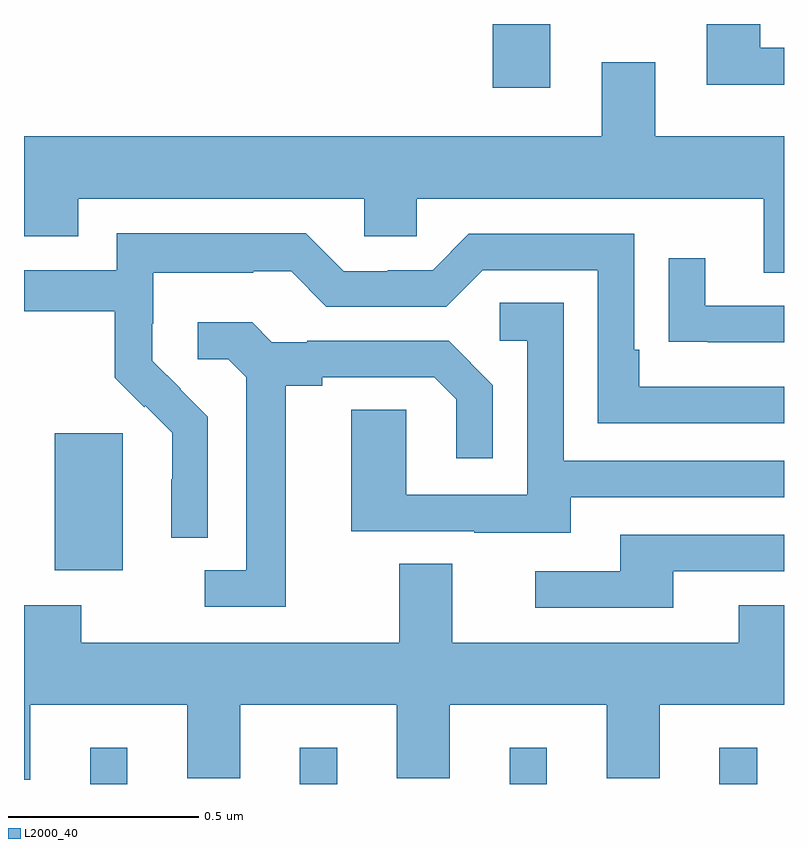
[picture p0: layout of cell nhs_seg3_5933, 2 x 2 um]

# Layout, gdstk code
import gdstk
lib = gdstk.Library(unit=1e-6, precision=1e-09)
def R(c, l, rs):  # rectangles x0, y0, x1, y1
    for r in rs: c.add(gdstk.rectangle(r[:2], r[2:], *l))
def A(c, l, x, y, w, h, nx, ny, dx, dy):  # array of equal rectangles
    R(c, l, [(x+i*dx, y+j*dy, x+i*dx+w, y+j*dy+h) for i in range(nx) for j in range(ny)])
def P(c, l, *ps):  # polygons
    for p in ps: c.add(gdstk.Polygon(p, *l))
L2000_40 = (2000, 40)

nhs_seg3_5933 = lib.new_cell('nhs_seg3_5933')
A(nhs_seg3_5933, L2000_40, 185.174, 675.4, 0.098, 0.096, 3, 1, 0.552, 0)
R(nhs_seg3_5933, L2000_40, [(186.83,675.4,186.929,675.496), (185.081,675.962,185.26,676.323), (186.233,677.232,186.385,677.4)])
P(nhs_seg3_5933, L2000_40, [(187,677.337),(186.937,677.337),(186.937,677.4),(186.797,677.4),(186.797,677.24),(187,677.24)],
  [(186.661,677.299),(186.521,677.299),(186.521,677.104),(185,677.104),(185,676.841),(185.143,676.841),(185.143,676.94),(185.895,676.94),(185.895,676.842),(186.033,676.842),(186.033,676.94),(186.947,676.94),(186.947,676.746),(187,676.746),(187,677.104),(186.661,677.104)],
  [(185.484,676.366),(185.411,676.439),(185.412,676.44),(185.338,676.514),(185.338,676.611),(185.34,676.611),(185.34,676.745),(185.603,676.745),(185.603,676.749),(185.703,676.749),(185.796,676.656),(186.111,676.656),(186.207,676.752),(186.51,676.752),(186.51,676.35),(187,676.35),(187,676.446),(186.619,676.446),(186.619,676.543),(186.606,676.543),(186.606,676.848),(186.171,676.848),(186.075,676.752),(185.957,676.752),(185.957,676.749),(185.841,676.749),(185.741,676.849),(185.244,676.849),(185.244,676.752),(185,676.752),(185,676.644),(185.239,676.644),(185.239,676.469),(185.316,676.392),(185.319,676.395),(185.39,676.325),(185.39,676.202),(185.388,676.202),(185.388,676.048),(185.484,676.048)],
  [(187,676.659),(186.793,676.659),(186.793,676.783),(186.697,676.783),(186.697,676.564),(186.799,676.564),(186.799,676.563),(187,676.563)],
  [(186.439,676.155),(187,676.155),(187,676.251),(186.42,676.251),(186.42,676.667),(186.252,676.667),(186.252,676.566),(186.324,676.566),(186.324,676.161),(186.006,676.161),(186.006,676.385),(185.861,676.385),(185.861,676.065),(186.185,676.065),(186.185,676.061),(186.439,676.061)],
  [(185.689,676.448),(185.785,676.448),(185.785,676.47),(186.08,676.47),(186.137,676.413),(186.137,676.257),(186.234,676.257),(186.234,676.45),(186.118,676.566),(185.746,676.566),(185.746,676.563),(185.652,676.563),(185.6,676.615),(185.457,676.615),(185.457,676.518),(185.538,676.518),(185.585,676.471),(185.585,675.963),(185.475,675.963),(185.475,675.867),(185.689,675.867)],
  [(186.709,675.96),(187,675.96),(187,676.056),(186.569,676.056),(186.569,675.96),(186.345,675.96),(186.345,675.864),(186.709,675.864)],
  [(185.017,675.608),(185.429,675.608),(185.429,675.415),(185.569,675.415),(185.569,675.608),(185.981,675.608),(185.981,675.415),(186.121,675.415),(186.121,675.608),(186.533,675.608),(186.533,675.415),(186.673,675.415),(186.673,675.608),(187,675.608),(187,675.871),(186.881,675.871),(186.881,675.772),(186.127,675.772),(186.127,675.98),(185.987,675.98),(185.987,675.772),(185.151,675.772),(185.151,675.871),(185,675.871),(185,675.411),(185.017,675.411)])

lib.write_gds('nhs_seg3_5933.gds')
